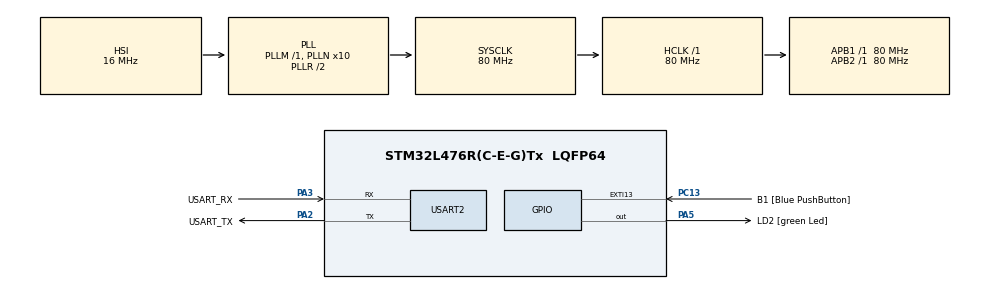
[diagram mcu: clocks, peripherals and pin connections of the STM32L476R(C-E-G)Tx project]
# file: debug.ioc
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Mcu.Family=STM32L4
Mcu.Name=STM32L476R(C-E-G)Tx
Mcu.Package=LQFP64
NVIC.PriorityGroup=NVIC_PRIORITYGROUP_4
PA13\ (JTMS-SWDIO).GPIO_Label=TMS
PA13\ (JTMS-SWDIO).Mode=Serial_Wire
PA13\ (JTMS-SWDIO).Signal=SYS_JTMS-SWDIO
PA14\ (JTCK-SWCLK).GPIO_Label=TCK
PA14\ (JTCK-SWCLK).Mode=Serial_Wire
PA14\ (JTCK-SWCLK).Signal=SYS_JTCK-SWCLK
PA2.GPIO_Label=USART_TX
PA2.GPIO_Mode=GPIO_MODE_AF_PP
PA2.GPIO_PuPd=GPIO_NOPULL
PA2.GPIO_Speed=GPIO_SPEED_FREQ_VERY_HIGH
PA2.Mode=Asynchronous
PA2.Signal=USART2_TX
PA3.GPIO_Label=USART_RX
PA3.GPIO_Mode=GPIO_MODE_AF_PP
PA3.GPIO_PuPd=GPIO_NOPULL
PA3.GPIO_Speed=GPIO_SPEED_FREQ_VERY_HIGH
PA3.Mode=Asynchronous
PA3.Signal=USART2_RX
PA5.GPIO_Label=LD2 [green Led]
PA5.GPIO_ModeDefaultOutputPP=GPIO_MODE_OUTPUT_PP
PA5.GPIO_PuPd=GPIO_NOPULL
PA5.GPIO_Speed=GPIO_SPEED_FREQ_LOW
PA5.Signal=GPIO_Output
PB3\ (JTDO-TRACESWO).GPIO_Label=SWO
PB3\ (JTDO-TRACESWO).Signal=SYS_JTDO-SWO
PC13.GPIO_Label=B1 [Blue PushButton]
PC13.GPIO_ModeDefaultEXTI=GPIO_MODE_IT_FALLING
PC13.GPIO_PuPd=GPIO_NOPULL
PC13.Signal=GPXTI13
PC14-OSC32_IN\ (PC14).Mode=LSE-External-Oscillator
PC14-OSC32_IN\ (PC14).Signal=RCC_OSC32_IN
PC15-OSC32_OUT\ (PC15).Mode=LSE-External-Oscillator
PC15-OSC32_OUT\ (PC15).Signal=RCC_OSC32_OUT
PH0-OSC_IN\ (PH0).Signal=RCC_OSC_IN
PH1-OSC_OUT\ (PH1).Signal=RCC_OSC_OUT
ProjectManager.HeapSize=0x200
ProjectManager.StackSize=0x400
ProjectManager.TargetToolchain=STM32CubeIDE
RCC.ADCFreq_Value=64000000
RCC.AHBFreq_Value=80000000
RCC.APB1Freq_Value=80000000
RCC.APB1TimFreq_Value=80000000
RCC.APB2Freq_Value=80000000
RCC.APB2TimFreq_Value=80000000
RCC.CortexFreq_Value=80000000
RCC.HCLKFreq_Value=80000000
RCC.HSE_VALUE=8000000
RCC.HSI_VALUE=16000000
RCC.MSI_VALUE=4000000
RCC.PLLN=10
RCC.PLLSourceVirtual=RCC_PLLSOURCE_HSI
RCC.PREFETCH_ENABLE=1
RCC.SYSCLKFreq_VALUE=80000000
RCC.SYSCLKSource=RCC_SYSCLKSOURCE_PLLCLK
RCC.USBFreq_Value=64000000
RCC.VCOOutputFreq_Value=160000000
USART2.VirtualMode-Asynchronous=VM_ASYNC
board=NUCLEO-L476RG

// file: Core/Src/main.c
/* USER CODE BEGIN Header */
/**
  ******************************************************************************
  * @file           : main.c
  * @brief          : This program gives opportunity to play around with the debugger.
  * 				  There are two global variables: msb and lsb.
  * 				  Function foo() is called every second, and it each time it
  * 				  increments the lsb, and every 5 times it increments the msb.
  * 				  Additionally each second the LD2 (onboard LED) is toggled
  * 				  on/off, and a depending if SWV is defined (line 43), it prints
  * 				  a message on serial port, or using SWV (Serial Wire Viewer).
  ******************************************************************************
  * @attention
  *
  * <h2><center>&copy; Copyright (c) 2024 STMicroelectronics.
  * All rights reserved.</center></h2>
  *
  * This software component is licensed by ST under BSD 3-Clause license,
  * the "License"; You may not use this file except in compliance with the
  * License. You may obtain a copy of the License at:
  *                        opensource.org/licenses/BSD-3-Clause
  *
  ******************************************************************************
  */
/* USER CODE END Header */
#include "main.h"
#include "usart.h"
#include "gpio.h"

/* USER CODE BEGIN Includes */
#include <stdio.h>
/* USER CODE END Includes */

/* USER CODE BEGIN PD */
#define SWV
/* USER CODE END PD */

/* USER CODE BEGIN PV */
uint32_t msb, lsb;
/* USER CODE END PV */

void SystemClock_Config(void);

/* USER CODE BEGIN 0 */
void foo(void){
	volatile int local_variable;
	++lsb;
	if(lsb > 4){
		lsb = 0;
		++msb;
	}
}

#ifdef SWV

/**
 * @brief function for printing using SWV
 */
int _write(int file, char *ptr, int len) {
    int i;
    for (i = 0; i < len; i++) {
        ITM_SendChar(*ptr++);
    }
    return len;
}

#else

/**
 * @brief function for printing using UART
 */
int _write(int file, char* ptr, int len){
	HAL_UART_Transmit(&huart2, (uint8_t *)ptr, len, HAL_MAX_DELAY);
	return len;
}

#endif

/* USER CODE END 0 */

int main(void)
{

  /* MCU Configuration--------------------------------------------------------*/

  /* Reset of all peripherals, Initializes the Flash interface and the Systick. */
  HAL_Init();

  /* Configure the system clock */
  SystemClock_Config();

  /* Initialize all configured peripherals */
  MX_GPIO_Init();
  MX_USART2_UART_Init();

  /* Infinite loop */
  /* USER CODE BEGIN WHILE */
  while (1)
  {
	 printf("Hello world!\n\r");
	 HAL_GPIO_TogglePin(LD2_GPIO_Port, LD2_Pin);
	 HAL_Delay(1000);
	 foo();
    /* USER CODE END WHILE */

  }
}

void SystemClock_Config(void)
{
  RCC_OscInitTypeDef RCC_OscInitStruct = {0};
  RCC_ClkInitTypeDef RCC_ClkInitStruct = {0};
  RCC_PeriphCLKInitTypeDef PeriphClkInit = {0};

  /** Initializes the RCC Oscillators according to the specified parameters
  * in the RCC_OscInitTypeDef structure.
  */
  RCC_OscInitStruct.OscillatorType = RCC_OSCILLATORTYPE_HSI;
  RCC_OscInitStruct.HSIState = RCC_HSI_ON;
  RCC_OscInitStruct.HSICalibrationValue = RCC_HSICALIBRATION_DEFAULT;
  RCC_OscInitStruct.PLL.PLLState = RCC_PLL_ON;
  RCC_OscInitStruct.PLL.PLLSource = RCC_PLLSOURCE_HSI;
  RCC_OscInitStruct.PLL.PLLM = 1;
  RCC_OscInitStruct.PLL.PLLN = 10;
  RCC_OscInitStruct.PLL.PLLP = RCC_PLLP_DIV7;
  RCC_OscInitStruct.PLL.PLLQ = RCC_PLLQ_DIV2;
  RCC_OscInitStruct.PLL.PLLR = RCC_PLLR_DIV2;
  if (HAL_RCC_OscConfig(&RCC_OscInitStruct) != HAL_OK)
  {
    Error_Handler();
  }
  /** Initializes the CPU, AHB and APB buses clocks
  */
  RCC_ClkInitStruct.ClockType = RCC_CLOCKTYPE_HCLK|RCC_CLOCKTYPE_SYSCLK
                              |RCC_CLOCKTYPE_PCLK1|RCC_CLOCKTYPE_PCLK2;
  RCC_ClkInitStruct.SYSCLKSource = RCC_SYSCLKSOURCE_PLLCLK;
  RCC_ClkInitStruct.AHBCLKDivider = RCC_SYSCLK_DIV1;
  RCC_ClkInitStruct.APB1CLKDivider = RCC_HCLK_DIV1;
  RCC_ClkInitStruct.APB2CLKDivider = RCC_HCLK_DIV1;

  if (HAL_RCC_ClockConfig(&RCC_ClkInitStruct, FLASH_LATENCY_4) != HAL_OK)
  {
    Error_Handler();
  }
  PeriphClkInit.PeriphClockSelection = RCC_PERIPHCLK_USART2;
  PeriphClkInit.Usart2ClockSelection = RCC_USART2CLKSOURCE_PCLK1;
  if (HAL_RCCEx_PeriphCLKConfig(&PeriphClkInit) != HAL_OK)
  {
    Error_Handler();
  }
  /** Configure the main internal regulator output voltage
  */
  if (HAL_PWREx_ControlVoltageScaling(PWR_REGULATOR_VOLTAGE_SCALE1) != HAL_OK)
  {
    Error_Handler();
  }
}

void Error_Handler(void)
{
}

/************************ (C) COPYRIGHT STMicroelectronics *****END OF FILE****/
